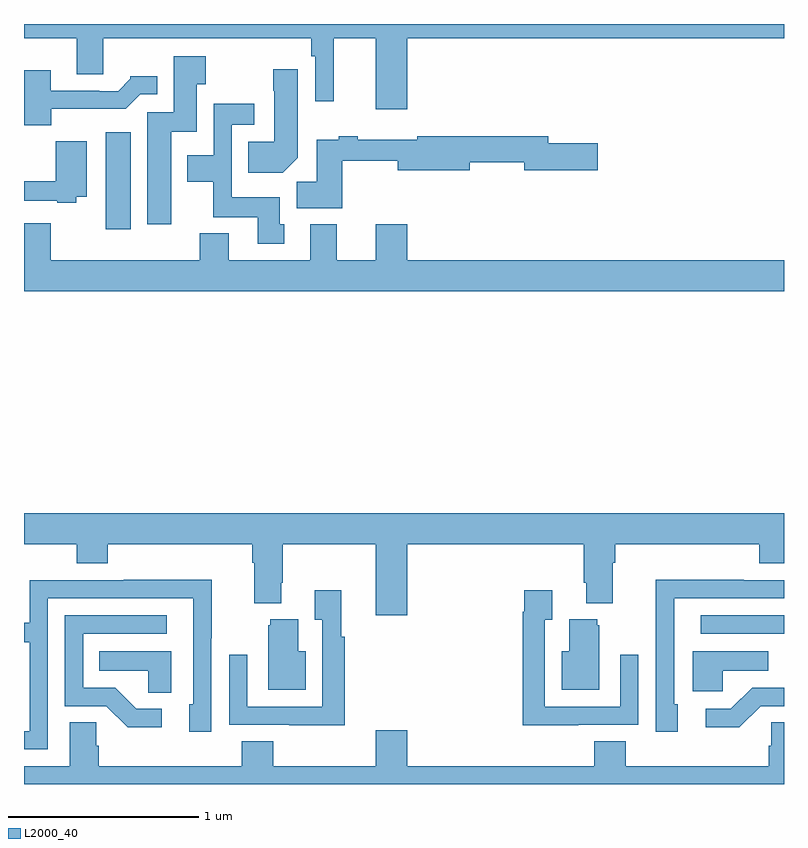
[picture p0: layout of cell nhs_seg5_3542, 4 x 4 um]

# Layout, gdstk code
import gdstk
lib = gdstk.Library(unit=1e-6, precision=1e-09)
def R(c, l, rs):  # rectangles x0, y0, x1, y1
    for r in rs: c.add(gdstk.rectangle(r[:2], r[2:], *l))
def P(c, l, *ps):  # polygons
    for p in ps: c.add(gdstk.Polygon(p, *l))
L2000_40 = (2000, 40)

nhs_seg5_3542 = lib.new_cell('nhs_seg5_3542')
R(nhs_seg5_3542, L2000_40, [(322.563,889.59,323,889.686), (319.43,891.72,319.561,892.228)])
P(nhs_seg5_3542, L2000_40, [(321.016,892.724),(323,892.724),(323,892.799),(319,892.799),(319,892.724),(319.277,892.724),(319.277,892.534),(319.417,892.534),(319.417,892.724),(320.512,892.724),(320.512,892.628),(320.532,892.628),(320.532,892.392),(320.631,892.392),(320.631,892.724),(320.852,892.724),(320.852,892.35),(321.016,892.35)],
  [(319.774,892.232),(319.909,892.232),(319.909,892.483),(319.956,892.483),(319.956,892.63),(319.787,892.63),(319.787,892.335),(319.649,892.335),(319.649,891.744),(319.774,891.744)],
  [(320.44,892.094),(320.44,892.561),(320.311,892.561),(320.311,892.448),(320.318,892.448),(320.318,892.18),(320.179,892.18),(320.179,892.016),(320.362,892.016)],
  [(319.144,892.352),(319.535,892.352),(319.611,892.428),(319.702,892.428),(319.702,892.525),(319.56,892.525),(319.56,892.51),(319.496,892.446),(319.397,892.446),(319.397,892.449),(319.141,892.449),(319.141,892.555),(319,892.555),(319,892.265),(319.144,892.265)],
  [(320.371,891.744),(320.347,891.744),(320.347,891.886),(320.094,891.886),(320.094,892.269),(320.212,892.269),(320.212,892.378),(319.998,892.378),(319.998,892.108),(319.859,892.108),(319.859,891.968),(319.996,891.968),(319.996,891.782),(320.231,891.782),(320.231,891.642),(320.371,891.642)],
  [(320.675,892.08),(320.966,892.08),(320.966,892.03),(321.346,892.03),(321.346,892.072),(321.632,892.072),(321.632,892.03),(322.021,892.03),(322.021,892.172),(321.76,892.172),(321.76,892.208),(321.07,892.208),(321.07,892.189),(320.756,892.189),(320.756,892.208),(320.656,892.208),(320.656,892.19),(320.54,892.19),(320.54,891.968),(320.435,891.968),(320.435,891.83),(320.675,891.83)],
  [(319.275,891.89),(319.33,891.89),(319.33,892.183),(319.168,892.183),(319.168,891.971),(319,891.971),(319,891.87),(319.175,891.87),(319.175,891.858),(319.275,891.858)],
  [(323,891.556),(321.016,891.556),(321.016,891.745),(320.852,891.745),(320.852,891.556),(320.647,891.556),(320.647,891.745),(320.507,891.745),(320.507,891.556),(320.077,891.556),(320.077,891.697),(319.925,891.697),(319.925,891.556),(319.141,891.556),(319.141,891.751),(319,891.751),(319,891.392),(323,891.392)],
  [(321.016,890.06),(321.947,890.06),(321.947,889.858),(321.959,889.858),(321.959,889.751),(322.099,889.751),(322.099,889.964),(322.112,889.964),(322.112,890.06),(322.871,890.06),(322.871,889.961),(323,889.961),(323,890.224),(319,890.224),(319,890.06),(319.277,890.06),(319.277,889.961),(319.442,889.961),(319.442,890.06),(320.201,890.06),(320.201,889.964),(320.213,889.964),(320.213,889.751),(320.353,889.751),(320.353,889.858),(320.361,889.858),(320.361,890.06),(320.852,890.06),(320.852,889.686),(321.016,889.686)],
  [(322.441,889.218),(322.422,889.218),(322.422,889.522),(322.423,889.522),(322.423,889.776),(323,889.776),(323,889.872),(322.787,889.872),(322.787,889.874),(322.324,889.874),(322.324,889.567),(322.326,889.567),(322.326,889.074),(322.441,889.074)],
  [(319.125,889.776),(319.89,889.776),(319.89,889.218),(319.871,889.218),(319.871,889.074),(319.986,889.074),(319.986,889.567),(319.989,889.567),(319.989,889.874),(319.525,889.874),(319.525,889.872),(319.029,889.872),(319.029,889.647),(319,889.647),(319,889.546),(319.029,889.546),(319.029,889.077),(319,889.077),(319,888.981),(319.125,888.981)],
  [(321.917,889.11),(322.233,889.11),(322.233,889.48),(322.137,889.48),(322.137,889.206),(321.741,889.206),(321.741,889.663),(321.781,889.663),(321.781,889.819),(321.633,889.819),(321.633,889.706),(321.625,889.706),(321.625,889.109),(321.917,889.109)],
  [(320.687,889.574),(320.669,889.574),(320.669,889.819),(320.531,889.819),(320.531,889.663),(320.571,889.663),(320.571,889.206),(320.175,889.206),(320.175,889.48),(320.079,889.48),(320.079,889.11),(320.395,889.11),(320.395,889.109),(320.687,889.109)],
  [(319.726,889.194),(319.591,889.194),(319.48,889.305),(319.311,889.305),(319.311,889.59),(319.75,889.59),(319.75,889.686),(319.215,889.686),(319.215,889.209),(319.434,889.209),(319.547,889.097),(319.726,889.097)],
  [(320.482,889.498),(320.443,889.498),(320.443,889.666),(320.297,889.666),(320.297,889.635),(320.285,889.635),(320.285,889.295),(320.482,889.295)],
  [(322.027,889.635),(322.016,889.635),(322.016,889.666),(321.869,889.666),(321.869,889.498),(321.83,889.498),(321.83,889.295),(322.027,889.295)],
  [(319.774,889.498),(319.396,889.498),(319.396,889.394),(319.653,889.394),(319.653,889.279),(319.774,889.279)],
  [(322.677,889.394),(322.916,889.394),(322.916,889.498),(322.52,889.498),(322.52,889.286),(322.677,889.286)],
  [(322.878,889.209),(323,889.209),(323,889.305),(322.832,889.305),(322.721,889.194),(322.587,889.194),(322.587,889.097),(322.765,889.097)],
  [(323,889.124),(322.932,889.124),(322.932,889.001),(322.919,889.001),(322.919,888.892),(322.166,888.892),(322.166,889.025),(322.001,889.025),(322.001,888.892),(321.016,888.892),(321.016,889.081),(320.852,889.081),(320.852,888.892),(320.312,888.892),(320.312,889.025),(320.147,889.025),(320.147,888.892),(319.394,888.892),(319.394,889.001),(319.38,889.001),(319.38,889.124),(319.241,889.124),(319.241,888.892),(319,888.892),(319,888.799),(323,888.799)])

lib.write_gds('nhs_seg5_3542.gds')
